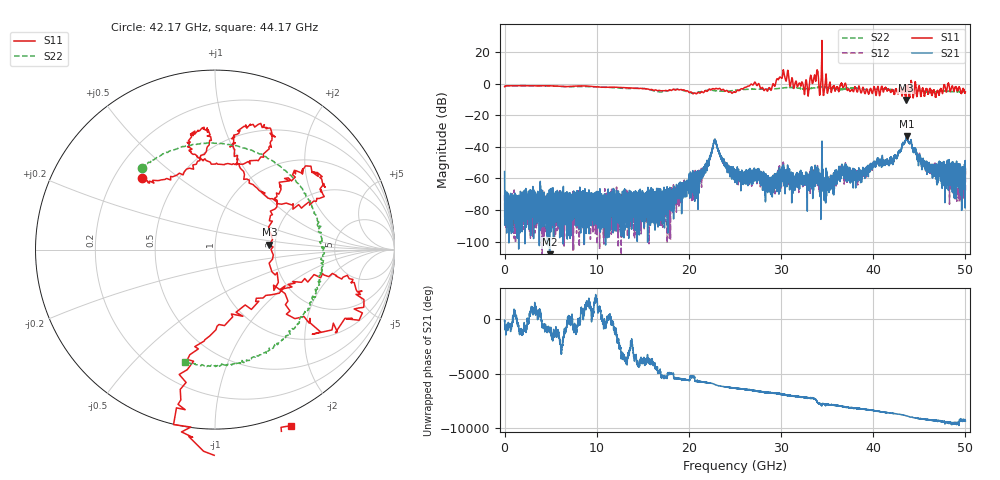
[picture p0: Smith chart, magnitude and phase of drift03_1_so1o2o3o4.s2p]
!Created with skrf (http://scikit-rf.org).
# Hz S RI R 50.0
!freq ReS11 ImS11 ReS21 ImS21 ReS12 ImS12 ReS22 ImS22
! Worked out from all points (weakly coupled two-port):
!   10001 points, 300 kHz to 50 GHz, reference 50 ohm
!   highest |S21| = -33.23 dB at 43.63 GHz (marker M1); lowest = -110.6 dB at 4.88 GHz (marker M2)
!   lowest |S11| = -10.3 dB at 43.53 GHz (marker M3), VSWR 1.87, Z = 93.2 + j5.6 ohm
!   |S11| at or under -10 dB: 43.52707 GHz to 43.5332 GHz (6.129 MHz wide, 0.0141 % of centre); 43.5382 GHz to 43.54156 GHz (3.366 MHz wide, 0.00773 % of centre); 43.55312 GHz to 43.55596 GHz (2.842 MHz wide, 0.00653 % of centre)
!   |S22| runs from -6.0 to -1.3 dB; largest |S21 - S12| = 0.01
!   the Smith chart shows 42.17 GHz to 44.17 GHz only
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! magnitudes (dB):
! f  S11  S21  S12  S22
! 300 kHz  -2.1  -55.6  -70.5  -2.1
! 365.3 MHz  -1.4  -83.3  -76.8  -1.4
! 4.88 GHz  -1.4  -110.6  -76.1  -1.6
! 8.335 GHz  -1.5  -70.6  -81.3  -1.9
! 16.67 GHz  -4.4  -79.8  -80.2  -5.2
! 20.92 GHz  -5.9  -55.1  -58.0  -5.7
! 22.81 GHz  -3.5  -35.5  -35.3  -4.5
! 25 GHz  -5.5  -55.9  -59.8  -4.2
! 27.02 GHz  -0.4  -57.9  -57.6  -3.5
! 28.72 GHz  -2.5  -60.4  -62.0  -3.6
! 30.13 GHz  4.0  -53.4  -55.5  -2.8
! 32.74 GHz  2.0  -57.9  -60.7  -3.3
! 33.34 GHz  2.1  -60.7  -56.7  -2.9
! 34.98 GHz  -4.3  -58.0  -62.7  -2.5
! 36.46 GHz  -0.9  -55.4  -55.2  -3.6
! 38.49 GHz  -1.9  -57.5  -54.7  -3.1
! 41.67 GHz  -3.7  -50.9  -49.6  -3.7
! 43.53 GHz  -10.3  -35.5  -35.2  -4.2
! 43.63 GHz  -3.5  -33.2  -33.7  -4.3
! 46 GHz  -5.8  -53.7  -51.9  -5.5
! 49.39 GHz  -2.7  -51.0  -56.8  -5.1
! 50 GHz  -5.3  -53.7  -68.5  -4.9
